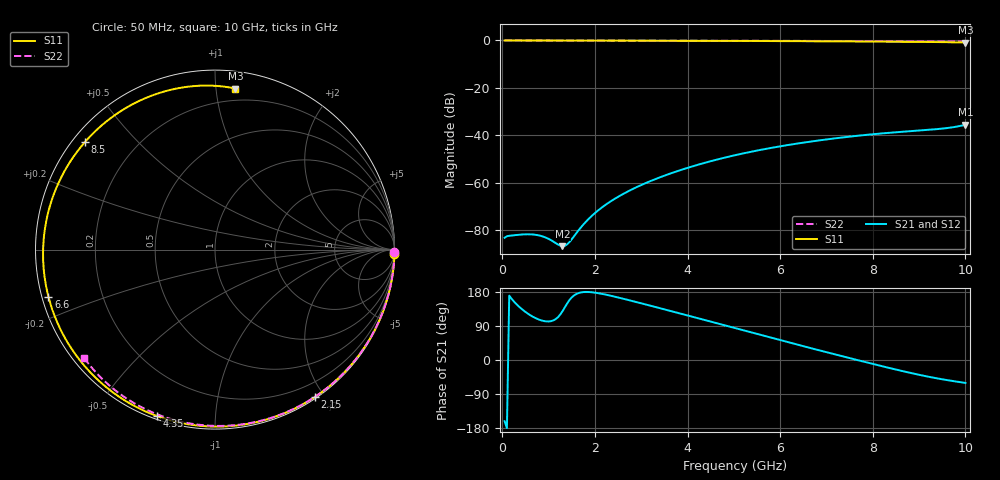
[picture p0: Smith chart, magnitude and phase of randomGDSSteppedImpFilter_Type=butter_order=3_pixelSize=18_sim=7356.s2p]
! freq	dB(S11)	phase(S11)	dB(S12)	phase(S12)
!  dB(S21)	phase(S21)	dB(S22)	phase(S22)
!S-par simulation data
#  GHz  S  DB  R 50
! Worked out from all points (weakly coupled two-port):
!   200 points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, 50 MHz to 10 GHz, reference 50 ohm
!   highest |S21| = -35.52 dB at 10 GHz (marker M1); lowest = -86.7 dB at 1.3 GHz (marker M2)
!   lowest |S11| = -0.9 dB at 10 GHz (marker M3), VSWR 19.97, Z = 5.71 + j56.4 ohm
!   |S11| at or under -10 dB: nowhere
!   |S22| runs from -0.5 to 0.0 dB; largest |S21 - S12| = 0
!   S11 on the Smith chart (normalised r, x): 50 MHz: 0, -86; 2.15 GHz: 0.02, -1.89; 4.35 GHz: 0.01, -0.71; 6.6 GHz: 0.02, -0.14; 8.5 GHz: 0.03, +0.36; 10 GHz: 0.11, +1.13
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0.05  -0.00 -1.3  -83.21 -161.5  -83.21 -161.5  -0.00 -0.8
0.65  -0.02 -17.3  -81.80 114.9  -81.80 114.9  -0.01 -10.6
1.3  -0.04 -34.2  -86.74 128.8  -86.74 128.8  -0.03 -21.0
1.65  -0.05 -43.2  -79.96 176.7  -79.96 176.7  -0.03 -26.5
1.75  -0.06 -45.8  -77.62 179.2  -77.62 179.2  -0.04 -28.1
2.15  -0.07 -55.9  -70.43 174.6  -70.43 174.6  -0.04 -34.4
2.7  -0.09 -69.6  -63.78 159.0  -63.78 159.0  -0.06 -42.8
3.4  -0.11 -86.7  -57.74 136.9  -57.74 136.9  -0.07 -53.4
4.35  -0.16 -109.4  -51.71 106.2  -51.71 106.2  -0.10 -67.3
5.05  -0.19 -126.0  -48.28 83.2  -48.28 83.2  -0.12 -77.2
5.85  -0.25 -145.3  -45.15 57.1  -45.15 57.1  -0.15 -88.1
6.6  -0.31 -164.2  -42.80 33.2  -42.80 33.2  -0.19 -98.0
6.7  -0.32 -166.8  -42.52 30.0  -42.52 30.0  -0.19 -99.3
7.15  -0.37 -178.9  -41.36 15.9  -41.36 15.9  -0.22 -105.1
7.55  -0.42 169.8  -40.44 3.5  -40.44 3.5  -0.25 -110.2
7.95  -0.46 157.9  -39.64 -8.8  -39.64 -8.8  -0.28 -115.2
8.35  -0.52 145.2  -38.95 -20.8  -38.95 -20.8  -0.31 -120.2
8.5  -0.54 140.3  -38.71 -25.2  -38.71 -25.2  -0.32 -122.1
8.9  -0.59 126.3  -38.13 -36.4  -38.13 -36.4  -0.36 -127.0
9.35  -0.67 109.5  -37.45 -47.6  -37.45 -47.6  -0.40 -132.5
9.7  -0.75 95.4  -36.68 -54.9  -36.68 -54.9  -0.44 -136.8
10  -0.87 82.8  -35.52 -60.6  -35.52 -60.6  -0.48 -140.4
